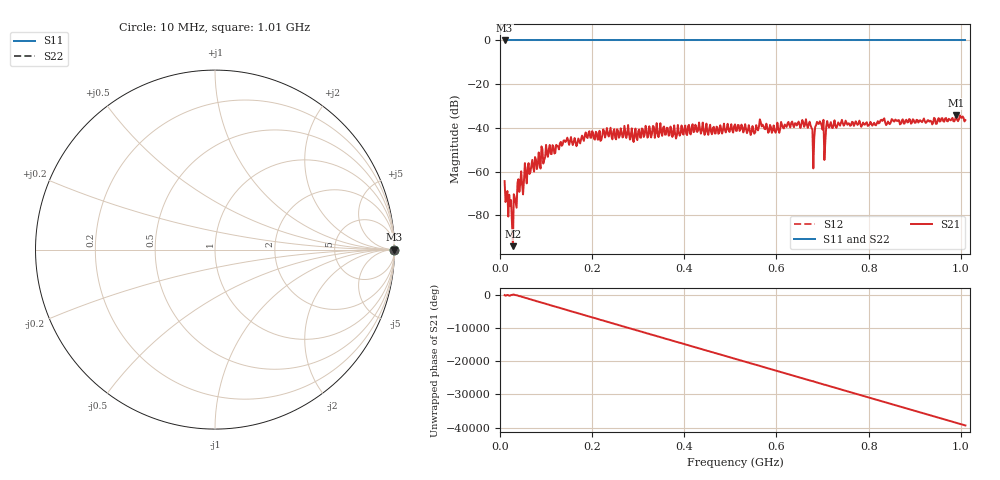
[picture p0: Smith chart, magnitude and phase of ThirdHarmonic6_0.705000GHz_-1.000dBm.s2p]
! 8/15/2025 11:34:05 PM
! C:\ANRITSUVNA\TEMP\TEMP.S2P
! CHANNEL.1
! TR.MEASUREMENT
! RAW.DATA
! RF.CORRECTION.OFF
! AVERAGING.OFF
! IF.BANDWIDTH: 5KHZ
! SWEEPTYPE:  FREQ.SWEEP(Linear)
! Reference Plane Port Info
! PORT:  PORT1  PORT2
! DISTANCE:  0  m  0  m
! TIME:  0  s  0  s
! PHASE.OFFSET:  0  deg.  0  deg.
! LOSS:  0  dB  0  dB
! REF.LOSS:  0  dB  0  dB
! REF.FREQ:  0  Hz  0  Hz
! Power Info
! POWER:  -20  dBm  -20  dBm
! EFF.POWER:  -20  dBm  -20  dBm
! SOURCE.ATTEN:  0  dB  0  dB
! TEST.ATTEN:  0  dB  0  dB
# GHZ S RI R 50.0
! FREQ.GHZ  S11RE  S11IM  S21RE  S21IM  S12RE  S12IM  S22RE  S22IM
!; PortSelection: Port_12
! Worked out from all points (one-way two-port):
!   501 points, 10 MHz to 1.01 GHz, reference 50 ohm
!   highest |S21| = -34.21 dB at 990 MHz (marker M1); lowest = -94.0 dB at 28 MHz (marker M2)
!   lowest |S11| = 0.0 dB at 10 MHz (marker M3)
!   |S11| at or under -10 dB: nowhere
!   |S22| runs from 0.0 to 0.0 dB; largest |S21 - S12| = 1
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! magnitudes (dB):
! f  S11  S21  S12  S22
! 10 MHz  0.0  -64.3  0.0  0.0
! 22 MHz  0.0  -75.7  0.0  0.0
! 28 MHz  0.0  -94.0  0.0  0.0
! 32 MHz  0.0  -71.7  0.0  0.0
! 42 MHz  0.0  -69.2  0.0  0.0
! 46 MHz  0.0  -59.8  0.0  0.0
! 58 MHz  0.0  -65.3  0.0  0.0
! 84 MHz  0.0  -51.2  0.0  0.0
! 88 MHz  0.0  -58.6  0.0  0.0
! 142 MHz  0.0  -46.4  0.0  0.0
! 178 MHz  0.0  -43.5  0.0  0.0
! 344 MHz  0.0  -44.2  0.0  0.0
! 510 MHz  0.0  -38.4  0.0  0.0
! 660 MHz  0.0  -39.5  0.0  0.0
! 674 MHz  0.0  -38.8  0.0  0.0
! 678 MHz  0.0  -40.8  0.0  0.0
! 692 MHz  0.0  -38.2  0.0  0.0
! 704 MHz  0.0  -54.6  0.0  0.0
! 714 MHz  0.0  -39.8  0.0  0.0
! 844 MHz  0.0  -37.9  0.0  0.0
! 990 MHz  0.0  -34.2  0.0  0.0
! 1.01 GHz  0.0  -36.4  0.0  0.0
